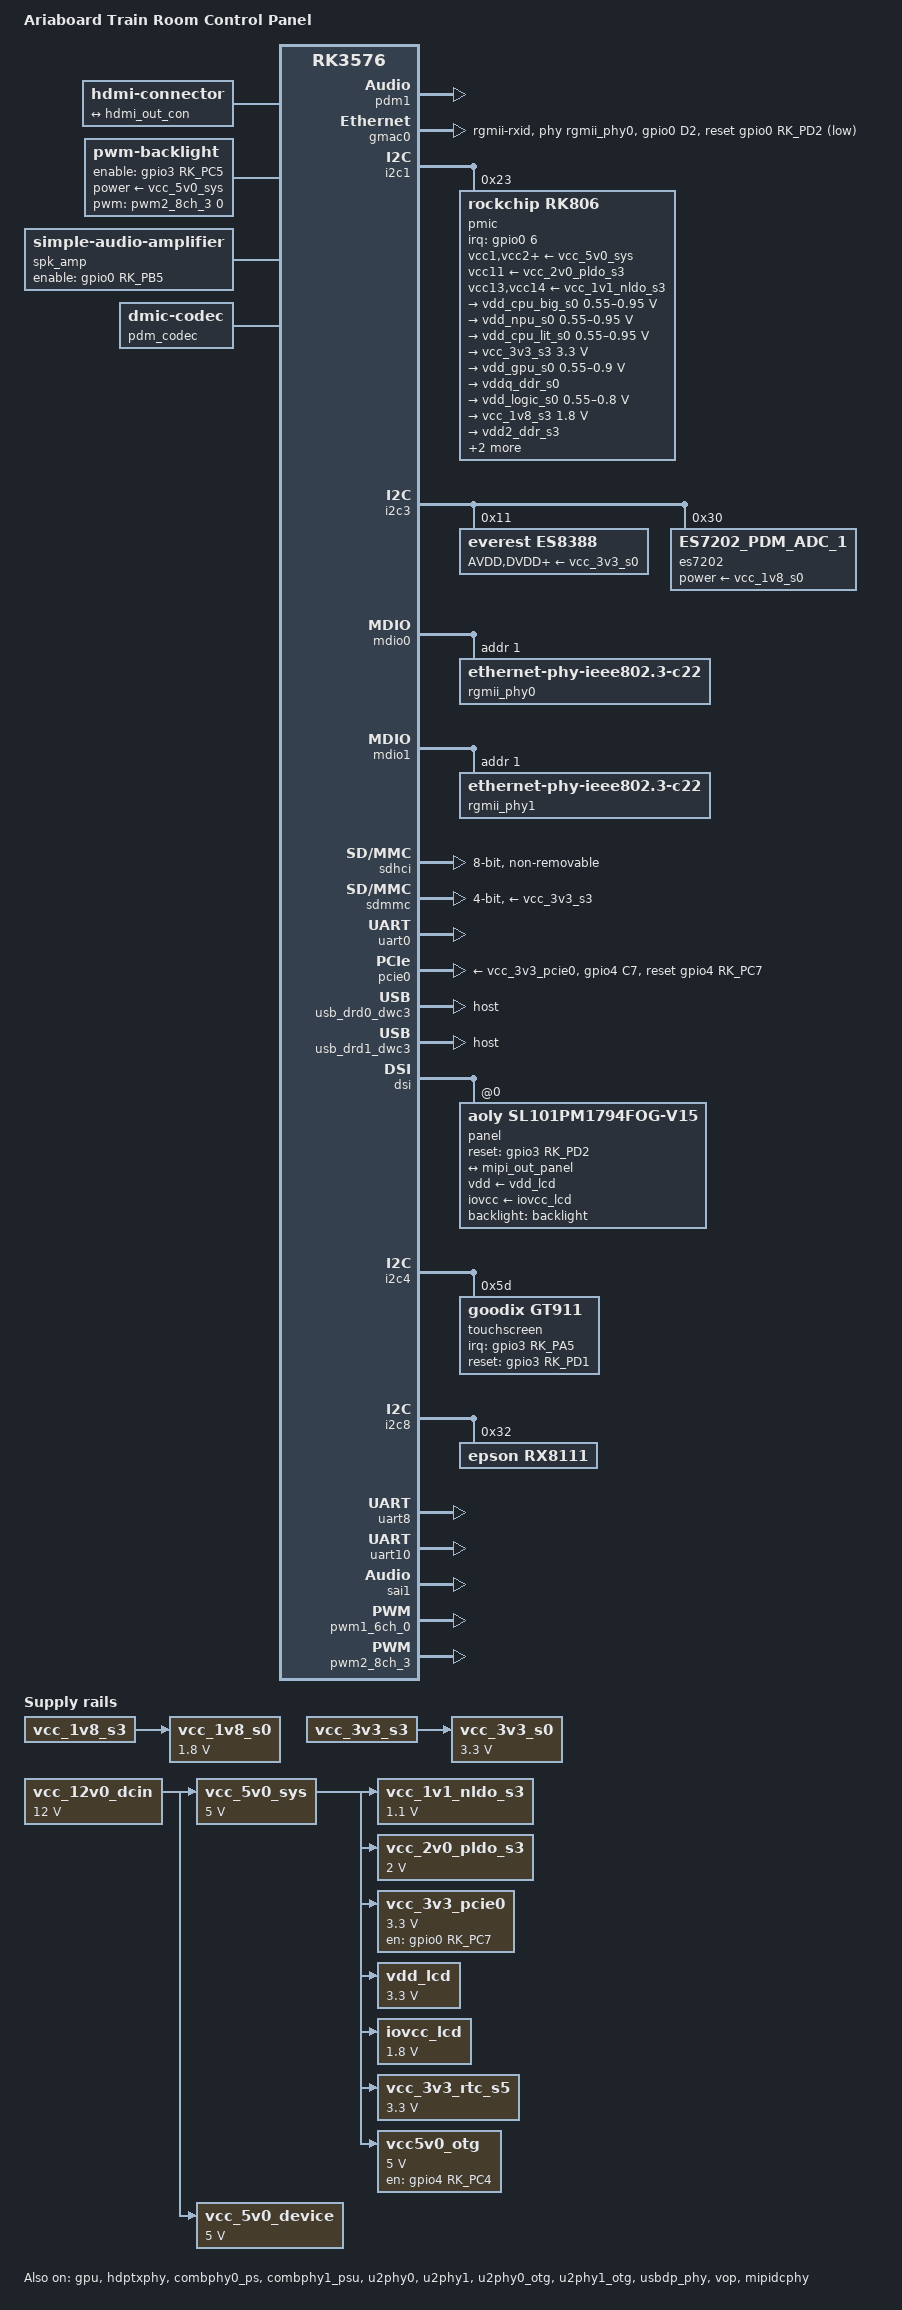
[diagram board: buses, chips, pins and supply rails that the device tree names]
// SPDX-License-Identifier: (GPL-2.0+ OR MIT)
/*
 * Copyright (c) 2024 Rockchip Electronics Co., Ltd.
 *
 */

/dts-v1/;

#include <dt-bindings/gpio/gpio.h>
#include <dt-bindings/leds/common.h>
#include <dt-bindings/pinctrl/rockchip.h>
#include <dt-bindings/pwm/pwm.h>
#include <dt-bindings/soc/rockchip,vop2.h>
#include <dt-bindings/usb/pd.h>
#include "rk3576.dtsi"

/ {
	model = "Ariaboard Train Room Control Panel";
	compatible = "ariaboard,novotech-trcp", "rockchip,rk3576";

	aliases {
		ethernet0 = &gmac0;
		mmc0 = &sdhci;
		mmc1 = &sdmmc;
	};

	chosen {
		stdout-path = "serial0:1500000n8";
	};

	hdmi-con {
		compatible = "hdmi-connector";
		type = "a";

		port {
			hdmi_con_in: endpoint {
				remote-endpoint = <&hdmi_out_con>;
			};
		};
	};

	hdmi_sound: hdmi-sound { 
		compatible = "simple-audio-card";
		simple-audio-card,format = "i2s";
		simple-audio-card,mclk-fs = <128>;
		simple-audio-card,name = "hdmi";
		status = "disabled";

		simple-audio-card,codec {
			sound-dai = <&hdmi>;
		};

		simple-audio-card,cpu {
			sound-dai = <&sai6>;
		};
	};

	vcc_12v0_dcin: regulator-vcc-12v0-dcin {
		compatible = "regulator-fixed";
		regulator-name = "vcc_12v0_dcin";
		regulator-always-on;
		regulator-boot-on;
		regulator-min-microvolt = <12000000>;
		regulator-max-microvolt = <12000000>;
	};

	vcc_1v1_nldo_s3: regulator-vcc-1v1-nldo-s3 {
		compatible = "regulator-fixed";
		regulator-name = "vcc_1v1_nldo_s3";
		regulator-boot-on;
		regulator-always-on;
		regulator-min-microvolt = <1100000>;
		regulator-max-microvolt = <1100000>;
		vin-supply = <&vcc_5v0_sys>;
	};

	vcc_1v8_s0: regulator-vcc-1v8-s0 {
		compatible = "regulator-fixed";
		regulator-name = "vcc_1v8_s0";
		regulator-boot-on;
		regulator-always-on;
		regulator-min-microvolt = <1800000>;
		regulator-max-microvolt = <1800000>;
		vin-supply = <&vcc_1v8_s3>;
	};

	vcc_2v0_pldo_s3: regulator-vcc-2v0-pldo-s3 {
		compatible = "regulator-fixed";
		regulator-name = "vcc_2v0_pldo_s3";
		regulator-boot-on;
		regulator-always-on;
		regulator-min-microvolt = <2000000>;
		regulator-max-microvolt = <2000000>;
		vin-supply = <&vcc_5v0_sys>;
	};

	vcc_3v3_pcie0: regulator-vcc-3v3-pcie0 {
		compatible = "regulator-fixed";
		pinctrl-names = "default";
		pinctrl-0 = <&pcie0_pwr_en>;
		regulator-name = "vcc_3v3_pcie0";
		regulator-min-microvolt = <3300000>;
		regulator-max-microvolt = <3300000>;
		enable-active-high;
		gpio = <&gpio0 RK_PC7 GPIO_ACTIVE_HIGH>;
		startup-delay-us = <5000>;
		vin-supply = <&vcc_5v0_sys>;
	};

	vdd_lcd: regulator-vdd-lcd {
		compatible = "regulator-fixed";
		regulator-name = "vdd_lcd";
		regulator-min-microvolt = <3300000>;
		regulator-max-microvolt = <3300000>;
		enable-active-high;
		vin-supply = <&vcc_5v0_sys>;
	};

	iovcc_lcd: regulator-iovcc-lcd {
		compatible = "regulator-fixed";
		regulator-name = "iovcc_lcd";
		regulator-min-microvolt = <1800000>;
		regulator-max-microvolt = <1800000>;
		enable-active-high;
		vin-supply = <&vcc_5v0_sys>;
	};

	vcc_3v3_rtc_s5: regulator-vcc-3v3-rtc-s5 {
		compatible = "regulator-fixed";
		regulator-name = "vcc_3v3_rtc_s5";
		regulator-boot-on;
		regulator-always-on;
		regulator-min-microvolt = <3300000>;
		regulator-max-microvolt = <3300000>;
		vin-supply = <&vcc_5v0_sys>;
	};

	vcc_3v3_s0: regulator-vcc-3v3-s0 {
		compatible = "regulator-fixed";
		regulator-name = "vcc_3v3_s0";
		regulator-boot-on;
		regulator-always-on;
		regulator-min-microvolt = <3300000>;
		regulator-max-microvolt = <3300000>;
		vin-supply = <&vcc_3v3_s3>;
	};

	vcc_5v0_sys: regulator-vcc-5v0-sys {
		compatible = "regulator-fixed";
		regulator-name = "vcc_5v0_sys";
		regulator-always-on;
		regulator-boot-on;
		regulator-min-microvolt = <5000000>;
		regulator-max-microvolt = <5000000>;
		vin-supply = <&vcc_12v0_dcin>;
	};

	vcc_5v0_device: regulator-vcc-5v0-device {
		compatible = "regulator-fixed";
		regulator-name = "vcc_5v0_device";
		regulator-always-on;
		regulator-boot-on;
		regulator-min-microvolt = <5000000>;
		regulator-max-microvolt = <5000000>;
		vin-supply = <&vcc_12v0_dcin>;
	};

	vcc5v0_otg: vcc5v0-otg {
		compatible = "regulator-fixed";
		regulator-name = "vcc5v0_otg";
		regulator-boot-on;
		regulator-always-on;
		regulator-min-microvolt = <5000000>;
		regulator-max-microvolt = <5000000>;
		enable-active-high;
		gpio = <&gpio4 RK_PC4 0>;
		vin-supply = <&vcc_5v0_sys>;
		pinctrl-names = "default";
		pinctrl-0 = <&usb_otg_pwren>;
        };

	backlight: backlight {
		compatible = "pwm-backlight";
		power-supply = <&vcc_5v0_sys>;
                pinctrl-names = "default";
                pinctrl-0 = <&bl_pinctrl>;
                enable-gpios = <&gpio3 RK_PC5 GPIO_ACTIVE_HIGH>;
		pwms = <&pwm2_8ch_3 0 25000 0>;
		brightness-levels = <
			  0   1   2   3   4   5   6   7
			  8   9  10  11  12  13  14  15
			 16  17  18  19  20  21  22  23
			 24  25  26  27  28  29  30  31
			 32  33  34  35  36  37  38  39
			 40  41  42  43  44  45  46  47
			 48  49  50  51  52  53  54  55
			 56  57  58  59  60  61  62  63
			 64  65  66  67  68  69  70  71
			 72  73  74  75  76  77  78  79
			 80  81  82  83  84  85  86  87
			 88  89  90  91  92  93  94  95
			 96  97  98  99 100 101 102 103
			104 105 106 107 108 109 110 111
			112 113 114 115 116 117 118 119
			120 121 122 123 124 125 126 127
			128 129 130 131 132 133 134 135
			136 137 138 139 140 141 142 143
			144 145 146 147 148 149 150 151
			152 153 154 155 156 157 158 159
			160 161 162 163 164 165 166 167
			168 169 170 171 172 173 174 175
			176 177 178 179 180 181 182 183
			184 185 186 187 188 189 190 191
			192 193 194 195 196 197 198 199
			200 201 202 203 204 205 206 207
			208 209 210 211 212 213 214 215
			216 217 218 219 220 221 222 223
			224 225 226 227 228 229 230 231
			232 233 234 235 236 237 238 239
			240 241 242 243 244 245 246 247
			248 249 250 251 252 253 254 255>;
		default-brightness-level = <200>;
	};

	spk_amp: audio-amplifier {
		compatible = "simple-audio-amplifier";
		enable-gpios = <&gpio0 RK_PB5 GPIO_ACTIVE_HIGH>;
		pinctrl-0 = <&spk_amp_enable_h>;
		pinctrl-names = "default";
		sound-name-prefix = "Speaker Amp";
	};

	sound {
		compatible = "simple-audio-card";

		simple-audio-card,name = "es8388-codec";
		simple-audio-card,aux-devs = <&spk_amp>;
		simple-audio-card,format = "i2s";
		simple-audio-card,mclk-fs = <256>;

		simple-audio-card,widgets =
			"Speaker", "Speaker";

		simple-audio-card,routing =
			"Speaker", "Speaker Amp OUTL",
			"Speaker", "Speaker Amp OUTR",      
			"Speaker Amp INL", "LOUT1",
			"Speaker Amp INR", "ROUT1";

		simple-audio-card,pin-switches = "Spreaker";

		simple-audio-card,codec {
			sound-dai = <&es8388>;
			system-clock-frequency = <12288000>;
		};

		simple-audio-card,cpu {
			sound-dai = <&sai1>;
			system-clock-frequency = <12288000>;
			frame-master;
			bitclock-master;
		};
	};

	pdm_codec: pdm-codec {
		compatible = "dmic-codec";
		num-channels = <2>;
		#sound-dai-cells = <0>;
	};

	dmic-sound {
		compatible = "simple-audio-card";

		simple-audio-card,name = "dmic-codec";
		simple-audio-card,format = "pdm";

		simple-audio-card,dai-link@0 {
			cpu {
				sound-dai = <&pdm1>;
			};
			codec {
				sound-dai = <&es7202>;
			};
		};

		simple-audio-card,dai-link@1 {
			cpu {
				sound-dai = <&pdm1>;
			};
			codec {
				sound-dai = <&pdm_codec>;
			};
		};
	};

	pdm1: pdm@2a6e0000 {   
		compatible = "rockchip,rk3576-pdm";
		reg = <0x0 0x2a6e0000 0x0 0x1000>;
		interrupts = <GIC_SPI 203 IRQ_TYPE_LEVEL_HIGH>;
		clocks = <&cru MCLK_PDM1>, <&cru HCLK_PDM1>, <&cru CLK_PDM1_OUT>;
		clock-names = "pdm_clk", "pdm_hclk", "pdm_clk_out";
		assigned-clocks = <&cru MCLK_PDM1>;
		assigned-clock-parents = <&cru CLK_AUDIO_INT_2>;
		dmas = <&dmac1 4>;
		dma-names = "rx";
		pinctrl-names = "default", "idle", "clk";
		pinctrl-0 = <&pdm1m1_sdi1
			     &pdm1m1_sdi2
			     &pdm1m1_sdi3>;
		pinctrl-1 = <&pdm1m1_clk0_idle
			     &pdm1m1_clk1_idle>;
		pinctrl-2 = <&pdm1m1_clk0
			     &pdm1m1_clk1>;
		power-domains = <&power RK3576_PD_AUDIO>;
		#sound-dai-cells = <0>;
		sound-name-prefix = "PDM1";
		status = "okay";
	};
};

&cpu_l0 {
	cpu-supply = <&vdd_cpu_lit_s0>;
};

&cpu_b0 {
	cpu-supply = <&vdd_cpu_big_s0>;
};

&gmac0 {
	phy-mode = "rgmii-rxid";
	clock_in_out = "output";

	phy-handle = <&rgmii_phy0>;
	pinctrl-names = "default";
	pinctrl-0 = <&eth0m1_miim
		     &eth0m1_tx_bus2
		     &eth0m1_rx_bus2
		     &eth0m1_rgmii_clk
		     &eth0m1_rgmii_bus
		     &ethm1_clk0_25m_out
		     &gmac0_rst>;

	snps,reset-gpio = <&gpio0 RK_PD2 GPIO_ACTIVE_LOW>;
	snps,reset-active-low;
	snps,reset-delays-us = <0 20000 100000>;

	tx_delay = <0x20>;
	/* rx_delay = <0x3f>; */

	status = "okay";
};

&gpu {
	mali-supply = <&vdd_gpu_s0>;
	status = "okay";
};

&hdmi {
	enable-gpios = <&gpio3 RK_PB1 GPIO_ACTIVE_HIGH>;
	status = "disabled";
	#sound-dai-cells = <0>;
};

&hdmi_in {
	hdmi_in_vp0: endpoint {
		remote-endpoint = <&vp0_out_hdmi>;
	};
};

&hdmi_out {
	hdmi_out_con: endpoint {
		remote-endpoint = <&hdmi_con_in>;
	};
};

&hdptxphy {
	status = "okay";
};

&i2c1 {
	status = "okay";

	pmic@23 {
		compatible = "rockchip,rk806";
		reg = <0x23>;

		interrupt-parent = <&gpio0>;
		interrupts = <6 IRQ_TYPE_LEVEL_LOW>;

		pinctrl-names = "default";
		pinctrl-0 = <&pmic_pins>, <&rk806_dvs1_null>,
			    <&rk806_dvs2_null>, <&rk806_dvs3_null>;

		/* system-power-controller; */

		vcc1-supply = <&vcc_5v0_sys>;
		vcc2-supply = <&vcc_5v0_sys>;
		vcc3-supply = <&vcc_5v0_sys>;
		vcc4-supply = <&vcc_5v0_sys>;
		vcc5-supply = <&vcc_5v0_sys>;
		vcc6-supply = <&vcc_5v0_sys>;
		vcc7-supply = <&vcc_5v0_sys>;
		vcc8-supply = <&vcc_5v0_sys>;
		vcc9-supply = <&vcc_5v0_sys>;
		vcc10-supply = <&vcc_5v0_sys>;
		vcc11-supply = <&vcc_2v0_pldo_s3>;
		vcc12-supply = <&vcc_5v0_sys>;
		vcc13-supply = <&vcc_1v1_nldo_s3>;
		vcc14-supply = <&vcc_1v1_nldo_s3>;
		vcca-supply = <&vcc_5v0_sys>;

		gpio-controller;
		#gpio-cells = <2>;

		rk806_dvs1_null: dvs1-null-pins {
			pins = "gpio_pwrctrl1";
			function = "pin_fun0";
		};

		rk806_dvs2_null: dvs2-null-pins {
			pins = "gpio_pwrctrl2";
			function = "pin_fun0";
		};

		rk806_dvs3_null: dvs3-null-pins {
			pins = "gpio_pwrctrl3";
			function = "pin_fun0";
		};

		rk806_dvs1_slp: dvs1-slp-pins {
			pins = "gpio_pwrctrl1";
			function = "pin_fun1";
		};

		rk806_dvs1_pwrdn: dvs1-pwrdn-pins {
			pins = "gpio_pwrctrl1";
			function = "pin_fun2";
		};

		rk806_dvs1_rst: dvs1-rst-pins {
			pins = "gpio_pwrctrl1";
			function = "pin_fun3";
		};

		rk806_dvs2_slp: dvs2-slp-pins {
			pins = "gpio_pwrctrl2";
			function = "pin_fun1";
		};

		rk806_dvs2_pwrdn: dvs2-pwrdn-pins {
			pins = "gpio_pwrctrl2";
			function = "pin_fun2";
		};

		rk806_dvs2_rst: dvs2-rst-pins {
			pins = "gpio_pwrctrl2";
			function = "pin_fun3";
		};

		rk806_dvs2_dvs: dvs2-dvs-pins {
			pins = "gpio_pwrctrl2";
			function = "pin_fun4";
		};

		rk806_dvs2_gpio: dvs2-gpio-pins {
			pins = "gpio_pwrctrl2";
			function = "pin_fun5";
		};

		rk806_dvs3_slp: dvs3-slp-pins {
			pins = "gpio_pwrctrl3";
			function = "pin_fun1";
		};

		rk806_dvs3_pwrdn: dvs3-pwrdn-pins {
			pins = "gpio_pwrctrl3";
			function = "pin_fun2";
		};

		rk806_dvs3_rst: dvs3-rst-pins {
			pins = "gpio_pwrctrl3";
			function = "pin_fun3";
		};

		rk806_dvs3_dvs: dvs3-dvs-pins {
			pins = "gpio_pwrctrl3";
			function = "pin_fun4";
		};

		rk806_dvs3_gpio: dvs3-gpio-pins {
			pins = "gpio_pwrctrl3";
			function = "pin_fun5";
		};

		regulators {
			vdd_cpu_big_s0: dcdc-reg1 {
				regulator-always-on;
				regulator-boot-on;
				regulator-min-microvolt = <550000>;
				regulator-max-microvolt = <950000>;
				regulator-ramp-delay = <12500>;
				regulator-name = "vdd_cpu_big_s0";
				regulator-enable-ramp-delay = <400>;
				regulator-state-mem {
					regulator-off-in-suspend;
				};
			};

			vdd_npu_s0: dcdc-reg2 {
				regulator-boot-on;
				regulator-min-microvolt = <550000>;
				regulator-max-microvolt = <950000>;
				regulator-ramp-delay = <12500>;
				regulator-name = "vdd_npu_s0";
				regulator-enable-ramp-delay = <400>;
				regulator-state-mem {
					regulator-off-in-suspend;
				};
			};

			vdd_cpu_lit_s0: dcdc-reg3 {
				regulator-always-on;
				regulator-boot-on;
				regulator-min-microvolt = <550000>;
				regulator-max-microvolt = <950000>;
				regulator-ramp-delay = <12500>;
				regulator-name = "vdd_cpu_lit_s0";
				regulator-state-mem {
					regulator-off-in-suspend;
					regulator-suspend-microvolt = <750000>;
				};
			};

			vcc_3v3_s3: dcdc-reg4 {
				regulator-always-on;
				regulator-boot-on;
				regulator-min-microvolt = <3300000>;
				regulator-max-microvolt = <3300000>;
				regulator-name = "vcc_3v3_s3";
				regulator-state-mem {
					regulator-on-in-suspend;
					regulator-suspend-microvolt = <3300000>;
				};
			};

			vdd_gpu_s0: dcdc-reg5 {
				regulator-boot-on;
				regulator-min-microvolt = <550000>;
				regulator-max-microvolt = <900000>;
				regulator-ramp-delay = <12500>;
				regulator-name = "vdd_gpu_s0";
				regulator-enable-ramp-delay = <400>;
				regulator-state-mem {
					regulator-off-in-suspend;
					regulator-suspend-microvolt = <850000>;
				};
			};

			vddq_ddr_s0: dcdc-reg6 {
				regulator-always-on;
				regulator-boot-on;
				regulator-name = "vddq_ddr_s0";
				regulator-state-mem {
					regulator-off-in-suspend;
				};
			};

			vdd_logic_s0: dcdc-reg7 {
				regulator-always-on;
				regulator-boot-on;
				regulator-min-microvolt = <550000>;
				regulator-max-microvolt = <800000>;
				regulator-name = "vdd_logic_s0";
				regulator-state-mem {
					regulator-off-in-suspend;
				};
			};

			vcc_1v8_s3: dcdc-reg8 {
				regulator-always-on;
				regulator-boot-on;
				regulator-min-microvolt = <1800000>;
				regulator-max-microvolt = <1800000>;
				regulator-name = "vcc_1v8_s3";
				regulator-state-mem {
					regulator-on-in-suspend;
					regulator-suspend-microvolt = <1800000>;
				};
			};

			vdd2_ddr_s3: dcdc-reg9 {
				regulator-always-on;
				regulator-boot-on;
				regulator-name = "vdd2_ddr_s3";
				regulator-state-mem {
					regulator-on-in-suspend;
				};
			};

			vdd_ddr_s0: dcdc-reg10 {
				regulator-always-on;
				regulator-boot-on;
				regulator-min-microvolt = <550000>;
				regulator-max-microvolt = <1200000>;
				regulator-name = "vdd_ddr_s0";
				regulator-state-mem {
					regulator-off-in-suspend;
				};
			};

			vcca_1v8_s0: pldo-reg1 {
				regulator-always-on;
				regulator-boot-on;
				regulator-min-microvolt = <1800000>;
				regulator-max-microvolt = <1800000>;
				regulator-name = "vcca_1v8_s0";
				regulator-state-mem {
					regulator-off-in-suspend;
				};
			};

			vcca1v8_pldo2_s0: pldo-reg2 {
				regulator-always-on;
				regulator-boot-on;
				regulator-min-microvolt = <1800000>;
				regulator-max-microvolt = <1800000>;
				regulator-name = "vcca1v8_pldo2_s0";
				regulator-state-mem {
					regulator-off-in-suspend;
				};
			};

			vdda_1v2_s0: pldo-reg3 {
				regulator-always-on;
				regulator-boot-on;
				regulator-min-microvolt = <1200000>;
				regulator-max-microvolt = <1200000>;
				regulator-name = "vdda_1v2_s0";
				regulator-state-mem {
					regulator-off-in-suspend;
				};
			};

			vcca_3v3_s0: pldo-reg4 {
				regulator-always-on;
				regulator-boot-on;
				regulator-min-microvolt = <3300000>;
				regulator-max-microvolt = <3300000>;
				regulator-name = "vcca_3v3_s0";
				regulator-state-mem {
					regulator-off-in-suspend;
				};
			};

			vccio_sd_s0: pldo-reg5 {
				regulator-always-on;
				regulator-boot-on;
				regulator-min-microvolt = <1800000>;
				regulator-max-microvolt = <3300000>;
				regulator-name = "vccio_sd_s0";
				regulator-state-mem {
					regulator-off-in-suspend;
				};
			};

			vcca1v8_pldo6_s3: pldo-reg6 {
				regulator-always-on;
				regulator-boot-on;
				regulator-min-microvolt = <1800000>;
				regulator-max-microvolt = <1800000>;
				regulator-name = "vcca1v8_pldo6_s3";
				regulator-state-mem {
					regulator-on-in-suspend;
					regulator-suspend-microvolt = <1800000>;
				};
			};

			vdd_0v75_s3: nldo-reg1 {
				regulator-always-on;
				regulator-boot-on;
				regulator-min-microvolt = <750000>;
				regulator-max-microvolt = <750000>;
				regulator-name = "vdd_0v75_s3";
				regulator-state-mem {
					regulator-on-in-suspend;
					regulator-suspend-microvolt = <750000>;
				};
			};

			vdda_ddr_pll_s0: nldo-reg2 {
				regulator-always-on;
				regulator-boot-on;
				regulator-min-microvolt = <850000>;
				regulator-max-microvolt = <850000>;
				regulator-name = "vdda_ddr_pll_s0";
				regulator-state-mem {
					regulator-off-in-suspend;
				};
			};

			vdda0v75_hdmi_s0: nldo-reg3 {
				regulator-always-on;
				regulator-boot-on;
				regulator-min-microvolt = <837500>;
				regulator-max-microvolt = <837500>;
				regulator-name = "vdda0v75_hdmi_s0";
				regulator-state-mem {
					regulator-off-in-suspend;
				};
			};

			vdda_0v85_s0: nldo-reg4 {
				regulator-always-on;
				regulator-boot-on;
				regulator-min-microvolt = <850000>;
				regulator-max-microvolt = <850000>;
				regulator-name = "vdda_0v85_s0";
				regulator-state-mem {
					regulator-off-in-suspend;
				};
			};

			vdda_0v75_s0: nldo-reg5 {
				regulator-always-on;
				regulator-boot-on;
				regulator-min-microvolt = <750000>;
				regulator-max-microvolt = <750000>;
				regulator-name = "vdda_0v75_s0";
				regulator-state-mem {
					regulator-off-in-suspend;
				};
			};
		};
	};


};

&i2c3 {
	pinctrl-0 = <&i2c3m0_xfer>;
	status = "okay";

	es8388: es8388@11 {
		status = "okay";
		compatible = "everest,es8388", "everest,es8323";
		reg = <0x11>;
		clocks = <&cru CLK_SAI1_MCLKOUT_TO_IO>;
		clock-names = "mclk";
		assigned-clocks = <&cru CLK_SAI1_MCLKOUT_TO_IO>;
		assigned-clock-rates = <12288000>;
		pinctrl-names = "default";
		pinctrl-0 = <&sai1m0_mclk>;
		AVDD-supply = <&vcc_3v3_s0>;
		DVDD-supply = <&vcc_3v3_s0>;
		HPVDD-supply = <&vcc_3v3_s0>;
		PVDD-supply = <&vcc_3v3_s0>;
		#sound-dai-cells = <0>;
	};

	es7202: es7202@30 {
		status = "okay";
		#sound-dai-cells = <0>;
		compatible = "ES7202_PDM_ADC_1";
		power-supply = <&vcc_1v8_s0>;   /* only 1v8 or 3v3, default is 3v3 */
		reg = <0x30>;
	};
};

&mdio0 {
	rgmii_phy0: phy@1 {
		compatible = "ethernet-phy-ieee802.3-c22";
		reg = <0x1>;
		clocks = <&cru REFCLKO25M_GMAC0_OUT>;
		realtek,led-data = <0x6d60>;
	};
};

&mdio1 {
	rgmii_phy1: phy@1 {
		compatible = "ethernet-phy-ieee802.3-c22";
		reg = <0x1>;
		clocks = <&cru REFCLKO25M_GMAC1_OUT>;
		realtek,led-data = <0x6d60>;
	};
};

&pinctrl {
	usb {
		usb_otg_pwren: usb-otg-pwren {
			rockchip,pins = <4 RK_PC4 RK_FUNC_GPIO &pcfg_pull_down>;
		};
	};

	gmac {
		gmac0_rst: gmac0-rst {
			rockchip,pins = <0 RK_PD2 RK_FUNC_GPIO &pcfg_pull_none>;
		};
	};

	pcie {
		pcie0_pwr_en: pcie0-pwr-en {
			rockchip,pins = <0 RK_PC7 RK_FUNC_GPIO &pcfg_pull_down>;
		};
		pcie0_reset: pcie0-reset {
			rockchip,pins = <4 RK_PC7 RK_FUNC_GPIO &pcfg_pull_up>;
		};
	};

	lcd {
		lcd_pinctrl: lcd-pinctrl {
			rockchip,pins = <3 RK_PD2 RK_FUNC_GPIO &pcfg_pull_none>;
		};
	};

	backlight {
		bl_pinctrl: bl-pinctrl {
			rockchip,pins = <3 RK_PC5 RK_FUNC_GPIO &pcfg_pull_none>;
		};
	};

	touchscreen {
		touch_int: touch-int {
			rockchip,pins = <3 RK_PA5 RK_FUNC_GPIO &pcfg_pull_up>;
		};
		touch_rst: touch-rst {
			rockchip,pins = <3 RK_PD1 RK_FUNC_GPIO &pcfg_pull_up>;
		};
	};

	amp {
		spk_amp_enable_h: spk-amp-enable {
			rockchip,pins = <0 RK_PB5 RK_FUNC_GPIO &pcfg_pull_down>;
		};
	};

	pdm1 {
		/omit-if-no-ref/
		pdm1m1_clk0_idle: pdm1m1-clk0-idle {
			rockchip,pins =
				/* pdm1_clk0_m1 */  
				<4 RK_PA6 RK_FUNC_GPIO &pcfg_pull_none>;
		};

		/omit-if-no-ref/
		pdm1m1_clk1_idle: pdm1m1-clk1-idle {
			rockchip,pins =
				/* pdm1_clk1_m1 */  
				<4 RK_PB0 RK_FUNC_GPIO &pcfg_pull_none>;
		};
	};
};

&sdhci {
	bus-width = <8>;
	full-pwr-cycle-in-suspend;
	max-frequency = <100000000>;
	mmc-hs400-1_8v;
	mmc-hs400-enhanced-strobe;

	/delete-property/ supports-cqe;

	no-sdio;
	no-sd;
	non-removable;
	status = "okay";
};

&sdmmc {
	bus-width = <4>;
	cap-mmc-highspeed;
	cap-sd-highspeed;
	disable-wp;
	max-frequency = <200000000>;
	no-sdio;
	no-mmc;
	sd-uhs-sdr104;
	vmmc-supply = <&vcc_3v3_s3>;
	vqmmc-supply = <&vccio_sd_s0>;
	status = "okay";
};

&uart0 {
	pinctrl-0 = <&uart0m0_xfer>;
	status = "okay";
};

&combphy0_ps {
	status = "okay";
};

&combphy1_psu {
	status = "okay";
};

&pcie0 {
	pinctrl-names = "default";
	pinctrl-0 = <&pcie0_reset>;
	reset-gpios = <&gpio4 RK_PC7 0>;
	vpcie3v3-supply = <&vcc_3v3_pcie0>;
	status = "okay";
};

&u2phy0 {
	status = "okay";
};

&u2phy1 {
	status = "okay";
};

&usb_drd0_dwc3 {
	status = "okay";
	dr_mode = "host";
	snps,dis_u2_susphy_quirk;
	snps,usb2-lpm-disable;
};

&usb_drd1_dwc3 {
	status = "okay";
	dr_mode = "host";
	snps,dis_u2_susphy_quirk;
	snps,usb2-lpm-disable;
};

&u2phy0_otg {
	status = "okay";
	phy-supply = <&vcc5v0_otg>;
};

&u2phy1_otg {
	status = "okay";
};

&usbdp_phy {
	rockchip,dp-lane-mux = <2 3>;
	status = "okay";
};

&vop {
	status = "okay";
};

&vop_mmu {
	status = "okay";
};

&vp1 {
	vp1_out_dsi: endpoint@ROCKCHIP_VOP2_EP_MIPI0 {
		reg = <ROCKCHIP_VOP2_EP_MIPI0>;
		remote-endpoint = <&dsi_in_vp1>;
	};
};

&vp0 {
	vp0_out_hdmi: endpoint@ROCKCHIP_VOP2_EP_HDMI0 {
		reg = <ROCKCHIP_VOP2_EP_HDMI0>;
		remote-endpoint = <&hdmi_in_vp0>;
	};
};

&mipidcphy {
	status = "okay";
};

&dsi {
	status = "okay";
	#address-cells = <1>;
	#size-cells = <0>;

	panel: panel@0 {
		compatible = "aoly,sl101pm1794fog-v15", "himax,hx8279";
		reg = <0>;
		backlight = <&backlight>;
		vdd-supply = <&vdd_lcd>;
		iovcc-supply = <&iovcc_lcd>;
		pinctrl-names = "default";
		pinctrl-0 = <&lcd_pinctrl>;
		reset-gpios = <&gpio3 RK_PD2 GPIO_ACTIVE_HIGH>;
		rotation = <270>;

		port {
		        mipi_in_panel: endpoint {
		                remote-endpoint = <&mipi_out_panel>;
		        };
		};
	};
};

&dsi_in {
	dsi_in_vp1: endpoint {
		remote-endpoint = <&vp1_out_dsi>;
	};
};

&dsi_out {
	mipi_out_panel: endpoint {
		remote-endpoint = <&mipi_in_panel>;
	};
};

&i2c4 {
	pinctrl-0 = <&i2c4m3_xfer>;
	status = "okay";

	touchscreen@5d {
		compatible = "goodix,gt911";
		reg = <0x5d>;
		interrupt-parent = <&gpio3>;
		interrupts = <RK_PA5 IRQ_TYPE_LEVEL_LOW>;
		irq-gpios = <&gpio3 RK_PA5 GPIO_ACTIVE_HIGH>;
		pinctrl-0 = <&touch_int>, <&touch_rst>;
		pinctrl-names = "default";
		reset-gpios = <&gpio3 RK_PD1 GPIO_ACTIVE_HIGH>;
		touchscreen-size-x = <800>;
		touchscreen-size-y = <1280>;
		touchscreen-inverted-x;
		touchscreen-inverted-y;
		/* touchscreen-swapped-x-y; */
	};
};

&i2c8 {
	pinctrl-0 = <&i2c8m3_xfer>;
	status = "okay";

	rx8111: rtc@32 {
		compatible = "epson,rx8111";
		reg = <0x32>;
	};	
};

&uart8 {
	pinctrl-0 = <&uart8m2_xfer>;
	status = "okay";
};

&uart10 {
	pinctrl-0 = <&uart10m2_xfer>;
	status = "okay";
};

&sai1 {
	pinctrl-names = "default";
	pinctrl-0 = <&sai1m0_lrck
		     &sai1m0_sclk
		     &sai1m0_sdi0
		     &sai1m0_sdo0>;
	status = "okay";
};

&sai6 {
	status = "disabled";
};

&pwm1_6ch_0 {
	pinctrl-0 = <&pwm1m3_ch0>;
	assigned-clocks = <&cru CLK_PWM1>;
	assigned-clock-rates = <100000000>;
	status = "okay";
};

&pwm2_8ch_3 {
        pinctrl-0 = <&pwm2m3_ch3>;
        assigned-clocks = <&cru CLK_PWM2>;
        assigned-clock-rates = <100000000>;
        status = "okay";
};
